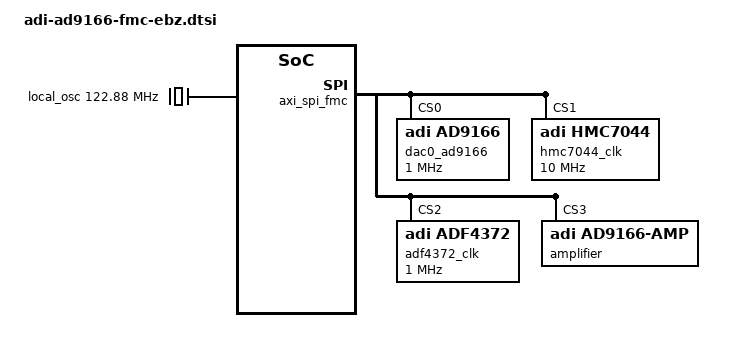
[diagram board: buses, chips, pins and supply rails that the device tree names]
// SPDX-License-Identifier: GPL-2.0
/*
 * dtsi file for AD9166-FMC-EBZ on Xilinx ZynqMP ZCU102 Rev 1.0
 *
 * Copyright (C) 2024-2025 Analog Devices Inc.
 */

/ {
	clocks {
		local_osc: clock@0 {
			compatible = "fixed-clock";
			clock-frequency = <122880000>; // 122.88MHz
			clock-output-names = "clkin";
			#clock-cells = <0>;
		};

	};
};

#include <dt-bindings/iio/frequency/hmc7044.h>

/ {
	fpga_axi: fpga-axi@0 {
		axi_spi_fmc: spi@85300000 {
			compatible = "xlnx,axi-quad-spi-3.2", "xlnx,xps-spi-2.00.a";
			reg = <0x85300000 0x1000>;
			#address-cells = <1>;
			#size-cells = <0>;
	
			interrupt-names = "ip2intc_irpt";
			interrupt-parent = <&gic>;
			interrupts = <0 105 IRQ_TYPE_LEVEL_HIGH>; // ps-9 in HDL
			
			clock-names = "ext_spi_clk", "s_axi_aclk";
			clocks = <&zynqmp_clk 71>, <&zynqmp_clk 71>;

			bits-per-word = <8>;
			fifo-size = <16>;
			num-cs = <0x4>;		
			xlnx,num-ss-bits = <0x4>;
			xlnx,spi-mode = <0x0>;
			xlnx,num-transfer-bits = <16>;
	
			status = "okay";
		};
	};
};

&axi_spi_fmc {
	// PL spi using AXI QUAD SPI module
	dac0_ad9166: ad9166@0 {
		//#address-cells = <1>;
		//#size-cells = <0>;
		compatible = "adi,ad9166";
		reg = <0>;
		spi-max-frequency = <1000000>;
		clocks =  <&adf4372_clk 0>;
		clock-names = "dac_clk";
		spi-cpol;
		spi-cpha;

		adi,full-scale-current-mircoamp = <40000>;
		dac_clk-clock-scales = <1 1>;
		jesd204-device;
		#jesd204-cells = <2>;
		jesd204-top-device = <0>; /* This is the TOP device */
		jesd204-link-ids = <0>;
		jesd204-inputs = <&axi_ad9166_core 0 0>;

		adi,jesd-subclass = <1>;
		adi,dac-interpolation = <2>;
		adi,channel-interpolation = <4>;
		adi,clock-output-divider = <1>;
		adi,syncoutb-signal-type-lvds-enable;
		//adi,scrambling = <1>;
		adi,sysref-mode = <2>; /* SYSREF_CONTINUOUS */
		adi,spi-3wire-enable;

		adi,subclass = <1>;			/* JESD SUBCLASS 0,1,2 */
		adi,version = <1>;			/* JESD VERSION 0=204A,1=204B,2=204C */
		adi,converters-per-device = <2>;	/* JESD M */
		adi,octets-per-frame = <1>;		/* JESD F */
		adi,frames-per-multiframe = <32>;	/* JESD K */
		adi,converter-resolution = <16>;	/* JESD N */
		adi,bits-per-sample = <16>;		/* JESD NP' */
		adi,control-bits-per-sample = <0>;	/* JESD CS */
		adi,lanes-per-device = <8>;		/* JESD L */
		adi,samples-per-converter-per-frame = <2>; /* JESD S */
		adi,interpolation = <2>;
	};

	hmc7044_clk: hmc7044@1 {
		compatible = "adi,hmc7044";
		reg = <1>;
		spi-max-frequency = <10000000>;
		#address-cells = <1>;
		#size-cells = <0>;
		#clock-cells = <1>;
		adi,spi-3wire-enable;

		// frequencies for            CLKIN0  CLKIN1      CLKIN2    CLKIN3
		adi,pll1-clkin-frequencies = <0 122880000 0 0>; // nu sunt sigura de frecventa asta
		// clock priority (least->highest): CLKIN3, CLKIN0, CLKIN1, CLKIN2 =>
		// => 11 00 01 10 = C6
		// used when giving signal from SMA (in this case for CLKN2)
		adi,pll1-ref-prio-ctrl = <0xC6>;

		adi,vcxo-frequency = <122880000>;
		// hmc7044 output frequency which will be further divided by the channel dividers
		// 2.5GHz is a convenient value for all 1.25GHz, 312.5MHz, 9.7656MHz
		adi,pll2-output-frequency = <2500000000>;

		// in the driver, it will write 0x0064[1]=1 to increase the limit to 6000MHz, from 3200MHz
		//adi,use-vco-divider;
		adi,sysref-timer-divider = <1024>;

		adi,clkin0-buffer-mode = <0x15>;
		adi,oscin-buffer-mode = <0x15>;

		adi,gpi-controls = <0x00 0x00 0x00 0x00>;
		adi,gpo-controls = <0x1f 0x2b 0x00 0x00>;

		clock-output-names = "hmc7044_out0", "hmc7044_out1", "hmc7044_out2",
				     "hmc7044_out3", "hmc7044_out4", "hmc7044_out5",
				     "hmc7044_out6", "hmc7044_out7", "hmc7044_out8",
				     "hmc7044_out9", "hmc7044_out10", "hmc7044_out11",
				     "hmc7044_out12", "hmc7044_out13";

		// pll2-output-frequency/divider

		// 1.25GHz
		// data sheet says sampled at fCLK/4 (ADF4372_RFAUX8/4)
		hmc7044_c3: channel@3 {
			reg = <3>;
			adi,extended-name = "DAC_SYSREF";
			adi,divider = <2>;
			adi,driver-mode = <1>;
		};
		// 312.5MHz
		hmc7044_c12: channel@12 {
			reg = <12>;
			adi,extended-name = "FPGA_CLK";
			adi,divider = <8>;
			adi,driver-mode = <2>;
		};
		// 9.7656MHz
		hmc7044_c13: channel@13 {
			reg = <13>;
			adi,extended-name = "FPGA_SYSREF";
			adi,divider = <256>;
			adi,driver-mode = <2>;
		};
	};

	adf4372_clk: adf4372@2 {
		compatible = "adi,adf4372";
		reg = <2>;
		spi-max-frequency = <1000000>;
		clocks = <&local_osc>;
		clock-names = "clkin"; // must be clkin

		#address-cells = <1>;
		#size-cells = <0>;
		#clock-cells = <1>;
		adi,spi-3wire-enable;

		clock-output-names = "adf4372_rf8", "adf4372_rfaux8";
		adi,muxout-select = <1>; // digital lock detect

		// o fi RF8x?
		channel@0 {
			reg = <0>;
			adi,output-enable;
			adi,power-up-frequency = /bits/ 64 <5000000000>; // 5GHz
		};

		// o fi RFAUX8x?
		channel@1 {
			reg = <1>;
			adi,output-enable;
			adi,power-up-frequency = /bits/ 64 <5000000000>; // 5GHz
		};
	};
	
	amplifier@3 {
		compatible = "adi,ad9166-amp";
		reg = <3>;
	};
};
